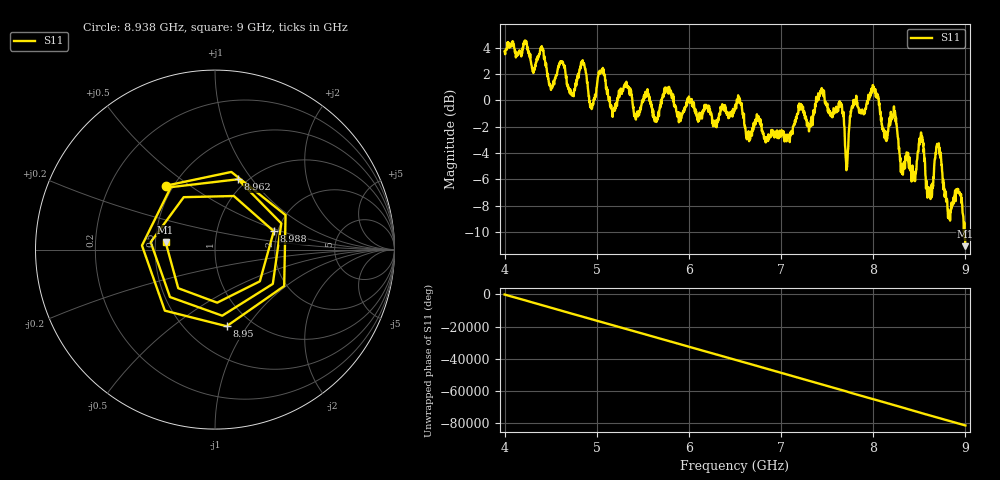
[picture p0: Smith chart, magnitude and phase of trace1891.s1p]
! Created with skrf 1.8.0 (http://scikit-rf.org).
# Hz S RI R 50.0
!freq ReS11 ImS11
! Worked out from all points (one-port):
!   1601 points, 4 GHz to 9 GHz, reference 50 ohm
!   lowest |S11| = -11.1 dB at 9 GHz (marker M1), VSWR 1.77, Z = 28.3 + j2.61 ohm
!   |S11| at or under -10 dB: 8.990146 GHz to end of sweep
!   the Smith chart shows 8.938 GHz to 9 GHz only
!   S11 on the Smith chart (normalised r, x): 8.938 GHz: 0.46, +0.41; 8.95 GHz: 0.77, -0.81; 8.962 GHz: 0.91, +0.86; 8.988 GHz: 1.91, +0.44; 9 GHz: 0.57, +0.05
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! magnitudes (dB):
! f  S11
! 4 GHz  3.7
! 4.406 GHz  3.9
! 4.503 GHz  0.8
! 4.625 GHz  3.0
! 4.728 GHz  0.5
! 4.853 GHz  2.8
! 4.944 GHz  -0.7
! 5.044 GHz  2.2
! 5.25 GHz  0.5
! 5.875 GHz  -1.1
! 6.5 GHz  -0.4
! 7.125 GHz  -2.6
! 7.441 GHz  0.9
! 7.653 GHz  -0.4
! 7.709 GHz  -5.3
! 7.75 GHz  -1.2
! 8.003 GHz  1.0
! 8.375 GHz  -4.5
! 8.441 GHz  -6.0
! 8.519 GHz  -2.4
! 8.612 GHz  -7.3
! 8.703 GHz  -3.6
! 8.816 GHz  -8.3
! 8.938 GHz  -7.0
! 8.95 GHz  -7.3
! 8.962 GHz  -7.7
! 8.988 GHz  -9.3
! 9 GHz  -11.1
